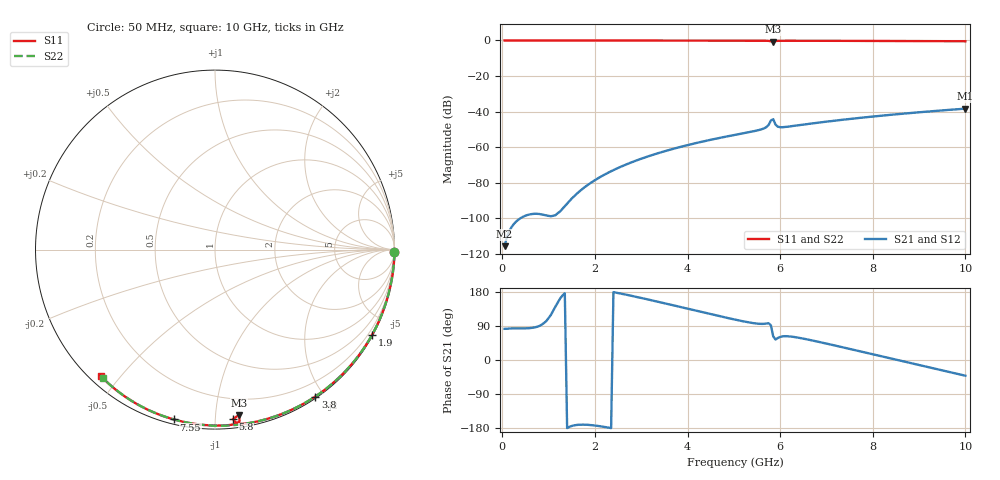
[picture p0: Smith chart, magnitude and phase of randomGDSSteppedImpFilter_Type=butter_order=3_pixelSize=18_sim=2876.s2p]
! freq	dB(S11)	phase(S11)	dB(S12)	phase(S12)
!  dB(S21)	phase(S21)	dB(S22)	phase(S22)
!S-par simulation data
#  GHz  S  DB  R 50
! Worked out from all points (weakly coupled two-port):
!   200 points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, 50 MHz to 10 GHz, reference 50 ohm
!   highest |S21| = -38.31 dB at 10 GHz (marker M1); lowest = -115.6 dB at 50 MHz (marker M2)
!   lowest |S11| = -0.6 dB at 5.85 GHz (marker M3), VSWR 27.82, Z = 4.19 - j57.6 ohm
!   |S11| at or under -10 dB: nowhere
!   |S22| runs from -0.4 to 0.0 dB; largest |S21 - S12| = 0
!   S11 on the Smith chart (normalised r, x): 50 MHz: open; 1.9 GHz: 0.03, -3.93; 3.8 GHz: 0.02, -1.89; 5.8 GHz: 0.06, -1.11; 7.55 GHz: 0.02, -0.79; 10 GHz: 0.03, -0.45
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0.05  -0.00 -0.8  -115.55 82.2  -115.55 82.2  -0.00 -0.8
0.9  -0.02 -13.7  -98.00 97.5  -98.00 97.5  -0.02 -13.6
1.75  -0.03 -26.3  -83.00 -170.6  -83.00 -170.6  -0.03 -26.1
1.9  -0.04 -28.5  -80.17 -171.6  -80.17 -171.6  -0.04 -28.3
2.25  -0.04 -33.7  -74.76 -177.5  -74.76 -177.5  -0.04 -33.4
2.55  -0.05 -38.0  -71.03 175.5  -71.03 175.5  -0.05 -37.7
2.95  -0.06 -43.8  -66.90 165.1  -66.90 165.1  -0.06 -43.4
3.4  -0.07 -50.1  -63.04 152.6  -63.04 152.6  -0.07 -49.7
3.8  -0.08 -55.7  -60.11 141.2  -60.11 141.2  -0.08 -55.3
4.4  -0.09 -63.9  -56.36 124.0  -56.36 124.0  -0.09 -63.4
5.05  -0.11 -72.7  -52.90 105.9  -52.90 105.9  -0.11 -72.0
5.65  -0.15 -81.0  -49.42 95.4  -49.42 95.4  -0.13 -79.7
5.75  -0.23 -83.0  -47.48 97.0  -47.48 97.0  -0.14 -81.0
5.8  -0.44 -84.0  -44.99 91.8  -44.99 91.8  -0.14 -81.6
5.85  -0.62 -81.7  -44.21 62.4  -44.21 62.4  -0.14 -82.3
5.9  -0.30 -81.9  -47.26 54.1  -47.26 54.1  -0.14 -82.9
5.95  -0.21 -83.0  -48.45 58.1  -48.45 58.1  -0.14 -83.5
6  -0.18 -83.9  -48.72 60.9  -48.72 60.9  -0.15 -84.2
6.7  -0.18 -93.2  -46.58 51.4  -46.58 51.4  -0.18 -92.8
7.55  -0.23 -103.6  -43.96 27.9  -43.96 27.9  -0.23 -103.0
8.35  -0.29 -113.0  -41.85 5.2  -41.85 5.2  -0.29 -112.4
10  -0.45 -131.9  -38.31 -41.5  -38.31 -41.5  -0.44 -131.1
